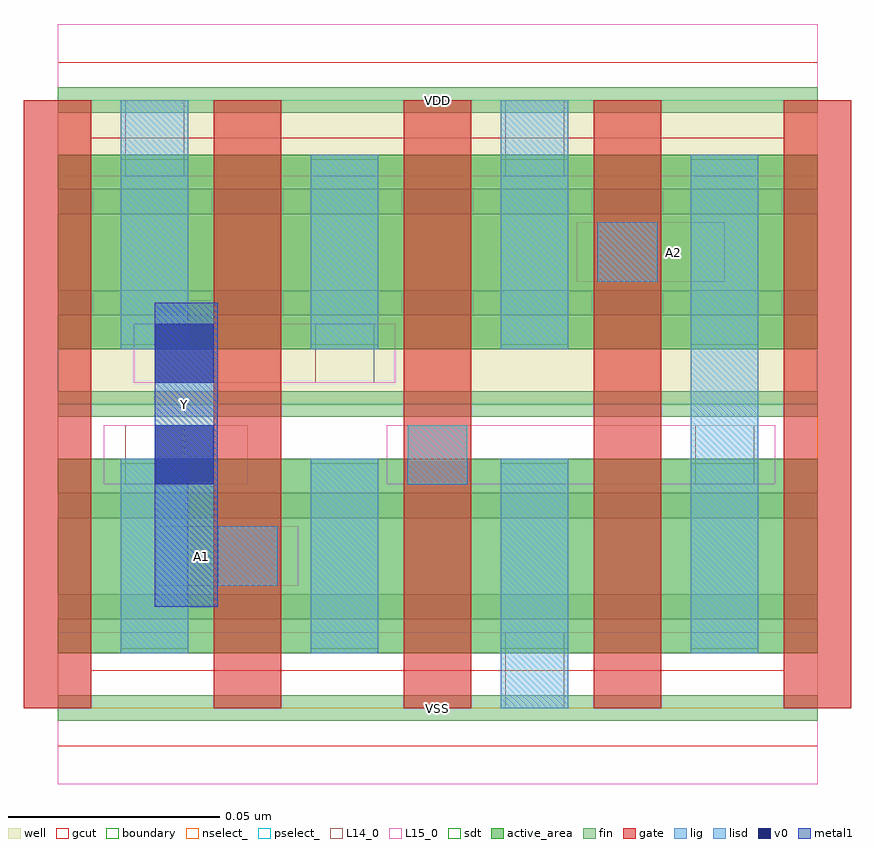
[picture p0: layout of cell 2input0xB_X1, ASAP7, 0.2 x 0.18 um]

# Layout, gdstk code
import gdstk
lib = gdstk.Library(unit=1e-6, precision=1e-09)
def R(c, l, rs):  # rectangles x0, y0, x1, y1
    for r in rs: c.add(gdstk.rectangle(r[:2], r[2:], *l))
def A(c, l, x, y, w, h, nx, ny, dx, dy):  # array of equal rectangles
    R(c, l, [(x+i*dx, y+j*dy, x+i*dx+w, y+j*dy+h) for i in range(nx) for j in range(ny)])
def P(c, l, *ps):  # polygons
    for p in ps: c.add(gdstk.Polygon(p, *l))
well = (1, 0)
fin = (2, 0)
gate = (7, 0)
gcut = (10, 0)
active_area = (11, 0)
nselect_ = (12, 0)
pselect_ = (13, 0)
L14_0 = (14, 0)
L15_0 = (15, 0)
lig = (16, 0)
lisd = (17, 0)
v0 = (18, 0)
metal1 = (19, 0)
sdt = (88, 0)
boundary = (100, 0)

c_2input0xb_x1 = lib.new_cell('2input0xB_X1')
R(c_2input0xb_x1, well, [(0,0.072,0.18,0.144)])
A(c_2input0xb_x1, fin, 0, -0.003, 0.18, 0.006, 1, 7, 0, 0.024)
A(c_2input0xb_x1, gate, -0.008, 0, 0.016, 0.144, 5, 1, 0.045, 0)
P(c_2input0xb_x1, gcut, [(0,-0.009),(0,0),(-0.008,0),(-0.008,0.135),(0.008,0.135),(0.008,0.009),(0.172,0.009),(0.172,0.135),(-0.008,0.135),(-0.008,0.144),(0,0.144),(0,0.153),(0.18,0.153),(0.18,0.144),(0.188,0.144),(0.188,0),(0.18,0),(0.18,-0.009)])
R(c_2input0xb_x1, active_area, [(0,0.013,0.18,0.059), (0,0.085,0.18,0.131)])
R(c_2input0xb_x1, nselect_, [(0,0,0.18,0.072)])
R(c_2input0xb_x1, pselect_, [(0,0.072,0.18,0.144)])
R(c_2input0xb_x1, L14_0, [(0.106,0,0.12,0.018), (0.038,0.029,0.052,0.043), (0.016,0.053,0.03,0.067), (0.083,0.053,0.097,0.067), (0.151,0.053,0.165,0.067), (0.061,0.077,0.075,0.091), (0.128,0.101,0.142,0.115), (0.016,0.126,0.03,0.144), (0.106,0.126,0.12,0.144)])
R(c_2input0xb_x1, L15_0, [(0,-0.018,0.18,0.018), (0.023,0.029,0.057,0.043), (0.011,0.053,0.045,0.067), (0.078,0.053,0.17,0.067), (0.018,0.077,0.08,0.091), (0.123,0.101,0.158,0.115), (0,0.126,0.18,0.162)])
R(c_2input0xb_x1, lig, [(0.038,0.029,0.052,0.043), (0.083,0.053,0.097,0.067), (0.128,0.101,0.142,0.115)])
R(c_2input0xb_x1, lisd, [(0.105,0,0.121,0.059), (0.015,0.013,0.031,0.059), (0.06,0.013,0.076,0.059), (0.15,0.013,0.166,0.131), (0.015,0.085,0.031,0.144), (0.06,0.085,0.076,0.131), (0.105,0.085,0.121,0.144)])
R(c_2input0xb_x1, v0, [(0.023,0.053,0.037,0.067), (0.023,0.077,0.037,0.091)])
R(c_2input0xb_x1, metal1, [(0.023,0.024,0.038,0.096)])
A(c_2input0xb_x1, sdt, 0.015, 0.014, 0.016, 0.044, 4, 2, 0.045, 0.072)
R(c_2input0xb_x1, boundary, [(0,0,0.18,0.144)])
c_2input0xb_x1.add(gdstk.Label('A1', (0.034,0.036), layer=15, texttype=251))
c_2input0xb_x1.add(gdstk.Label('VSS', (0.09,0), layer=15, texttype=251))
c_2input0xb_x1.add(gdstk.Label('VDD', (0.09,0.144), layer=15, texttype=251))
c_2input0xb_x1.add(gdstk.Label('VSS', (0.09,0), layer=15, texttype=251))
c_2input0xb_x1.add(gdstk.Label('VDD', (0.09,0.144), layer=15, texttype=251))
c_2input0xb_x1.add(gdstk.Label('A2', (0.146,0.108), layer=15, texttype=251))
c_2input0xb_x1.add(gdstk.Label('VSS', (0.09,0), layer=15, texttype=251))
c_2input0xb_x1.add(gdstk.Label('VDD', (0.09,0.144), layer=15, texttype=251))
c_2input0xb_x1.add(gdstk.Label('VSS', (0.09,0), layer=3, texttype=251))
c_2input0xb_x1.add(gdstk.Label('VSS', (0.09,0), layer=3, texttype=251))
c_2input0xb_x1.add(gdstk.Label('VSS', (0.09,0), layer=3, texttype=251))
c_2input0xb_x1.add(gdstk.Label('VDD', (0.09,0.144), layer=1, texttype=251))
c_2input0xb_x1.add(gdstk.Label('VDD', (0.09,0.144), layer=1, texttype=251))
c_2input0xb_x1.add(gdstk.Label('VDD', (0.09,0.144), layer=1, texttype=251))
c_2input0xb_x1.add(gdstk.Label('Y', (0.03,0.072), layer=19, texttype=251))

lib.write_gds('2input0xB_X1.gds')
